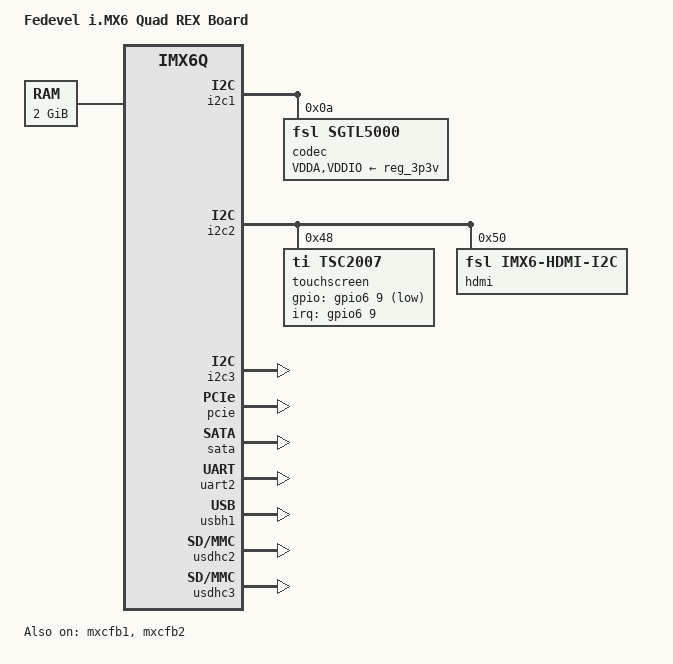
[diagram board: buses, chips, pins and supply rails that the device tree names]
/*
 * Copyright (C) 2015-2016 Voipac.
 *
 * The code contained herein is licensed under the GNU General Public
 * License. You may obtain a copy of the GNU General Public License
 * Version 2 or later at the following locations:
 *
 * http://www.opensource.org/licenses/gpl-license.html
 * http://www.gnu.org/copyleft/gpl.html
 */

/dts-v1/;

#include "imx6q.dtsi"
#include "imx6qdl-rex.dtsi"

/ {
	model = "Fedevel i.MX6 Quad REX Board";
	compatible = "fsl,imx6q-rex", "fsl,imx6q";

	memory: memory {
		reg = <0x10000000 0x80000000>;
	};

	sound-sgtl5000 {
		compatible = "fsl,imx6q-audio-sgtl5000",
			     "fsl,imx-audio-sgtl5000";
		model = "imx-audio-sgtl5000";
		ssi-controller = <&ssi1>;
		audio-codec = <&codec>;
		audio-routing =
			"MIC_IN", "Mic Jack",
			"Mic Jack", "Mic Bias",
			"Headphone Jack", "HP_OUT";
		mux-int-port = <1>;
		mux-ext-port = <3>;
	};
};

&i2c1 {
	status = "okay";

	codec: sgtl5000@0a {
		compatible = "fsl,sgtl5000";
		reg = <0x0a>;
		clocks = <&clks 201>;
		VDDA-supply = <&reg_3p3v>;
		VDDIO-supply = <&reg_3p3v>;
	};
};

&i2c2 {
	status = "okay";

	touchscreen: tsc2007@48 {
		compatible = "ti,tsc2007";
		reg = <0x48>;
		pinctrl-names = "default";
		pinctrl-0 = <&pinctrl_tsc2007>;
		interrupt-parent = <&gpio6>;
		interrupts = <9 1>;
		gpios = <&gpio6 9 1>;
		ti,x-plate-ohms = <500>;
	};

	hdmi: edid@50 {
		compatible = "fsl,imx6-hdmi-i2c";
		reg = <0x50>;
	};
};

&i2c3 {
	status = "okay";
};

&ldb {
	lvds-channel@0 {
		crtc = "ipu1-di0";
	};

	lvds-channel@1 {
		crtc = "ipu1-di1";
	};
};

&mxcfb1 {
	status = "okay";
};

&mxcfb2 {
	status = "okay";
};

&mxcfb3 {
	status = "disabled";
};

&mxcfb4 {
	status = "disabled";
};

&pcie {
	status = "okay";
};

&sata {
	status = "okay";
};

&uart2 {
	status = "okay";
};

&usbh1 {
	status = "okay";
};

&usdhc2 {
	status = "okay";
};

&usdhc3 {
	status = "okay";
};
